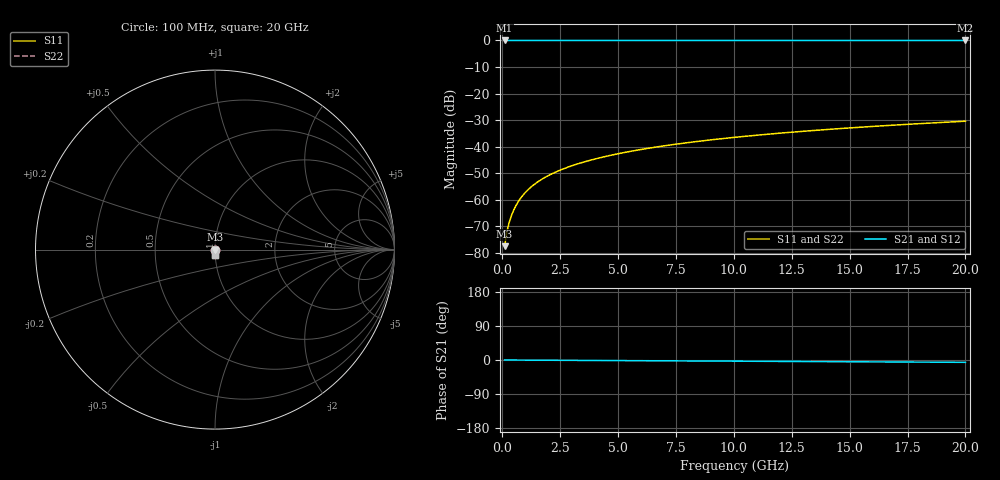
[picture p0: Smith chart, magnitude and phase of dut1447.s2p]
! Touchstone file exported from HFSS 2026.1.0
!  File:  C:/ffzhzh/LocalFiles/Ansys_Project_Files/temp_train_TSV_1447_1783197820_18472.aedt
!  Generated:  04:45:13 AM Jul  5, 2026
!  Design:  TSV
!  Project:  temp_train_TSV_1447_1783197820_18472
! Variables:
!  h_bsmrdl = 2um
!  h_ox = 20um
!  h_rdl = 5um
!  h_sub = 57.63um
!  h_tmrdl = 5um
!  h_tsv = 57.63um
!  h_via = 3um
!  l_bsmrdl = 300um
!  l_sub = 429.54um
!  l_tmrdl = 200um
!  m_sub = 200um
!  pitch = 45.56um
!  r_tsv = 14.77um
!  s_tmrdl = 10um
!  w_bsmrdl = 18um
!  w_sub = 500um
!  w_tmrdl = 12um
!  x_tsv_center1 = 206um
!  x_tsv_center2 = 524um
!  x_tsv_center3 = 736um
!  x_tsv_center4 = 1054um
!  x_tsv_center5 = 1266um
!  x_tsv_center6 = 1584um
# GHz S MA R 50.000000
! Terminal data exported
! Port[1] = TSV1_1_T1
! Port[2] = TSV1_1_T2
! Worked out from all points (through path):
!   200 points, 100 MHz to 20 GHz, reference 50 ohm
!   highest |S21| = 0.00 dB at 100 MHz (marker M1); lowest = 0.0 dB at 20 GHz (marker M2)
!   lowest |S11| = -77.5 dB at 100 MHz (marker M3), VSWR 1.00, Z = 50 - j0.0118 ohm
!   |S11| at or under -10 dB: start of sweep to end of sweep
!   |S22| runs from -77.5 to -30.4 dB; largest |S21 - S12| = 2e-15
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0.1  0.0001327 -62.6  0.9999 -0.0  0.9999 -0.0  0.0001327 -62.6
! Gamma 0 0 0 0
! Port Impedance 50 0 50 0
0.2  0.0002492 -73.3  0.9999 -0.1  0.9999 -0.1  0.0002492 -73.3
0.3  0.0003748 -76.6  0.9999 -0.1  0.9999 -0.1  0.0003748 -76.6
0.4  0.000507 -78.1  0.9999 -0.1  0.9999 -0.1  0.000507 -78.1
0.5  0.0006445 -79.0  0.9999 -0.2  0.9999 -0.2  0.0006445 -79.0
0.7  0.0009302 -80.4  0.9998 -0.2  0.9998 -0.2  0.0009302 -80.4
0.8  0.001076 -81.0  0.9998 -0.3  0.9998 -0.3  0.001076 -81.0
1  0.001371 -82.1  0.9998 -0.3  0.9998 -0.3  0.001371 -82.1
1.2  0.001668 -83.0  0.9998 -0.4  0.9998 -0.4  0.001668 -83.0
1.4  0.001966 -83.7  0.9998 -0.4  0.9998 -0.4  0.001966 -83.7
1.7  0.002411 -84.6  0.9997 -0.5  0.9997 -0.5  0.002411 -84.6
2  0.002856 -85.3  0.9997 -0.6  0.9997 -0.6  0.002856 -85.3
2.7  0.003895 -86.5  0.9997 -0.8  0.9997 -0.8  0.003895 -86.5
3.5  0.005084 -87.3  0.9997 -1.1  0.9997 -1.1  0.005084 -87.3
4.2  0.006129 -87.9  0.9996 -1.3  0.9996 -1.3  0.006129 -87.9
5  0.007327 -88.4  0.9996 -1.6  0.9996 -1.6  0.007327 -88.4
6.8  0.01004 -89.4  0.9995 -2.1  0.9995 -2.1  0.01004 -89.4
8.3  0.01231 -90.1  0.9994 -2.6  0.9994 -2.6  0.01231 -90.1
10.1  0.01503 -90.9  0.9993 -3.1  0.9993 -3.1  0.01503 -90.9
13.4  0.02004 -92.2  0.9991 -4.1  0.9991 -4.1  0.02004 -92.2
16.7  0.02505 -93.5  0.9989 -5.1  0.9989 -5.1  0.02505 -93.5
20  0.03007 -94.6  0.9987 -6.2  0.9987 -6.2  0.03007 -94.6
